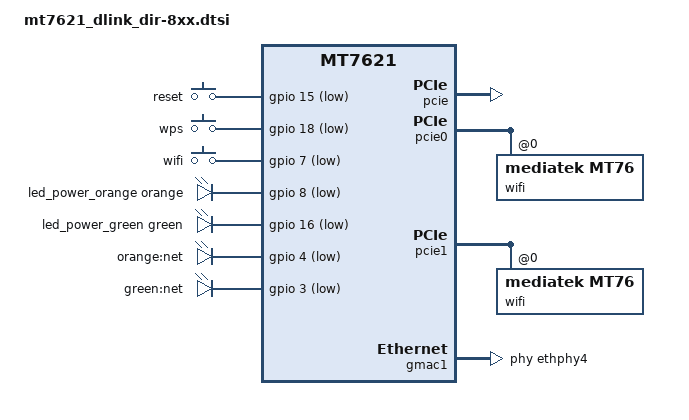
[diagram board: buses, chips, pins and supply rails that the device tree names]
// SPDX-License-Identifier: GPL-2.0-or-later OR MIT

#include "mt7621.dtsi"

#include <dt-bindings/gpio/gpio.h>
#include <dt-bindings/input/input.h>
#include <dt-bindings/leds/common.h>

/ {
	aliases {
		label-mac-device = &gmac0;
		led-boot = &led_power_orange;
		led-failsafe = &led_power_green;
		led-running = &led_power_green;
		led-upgrade = &led_net_orange;
	};

	keys {
		compatible = "gpio-keys";

		reset {
			label = "reset";
			gpios = <&gpio 15 GPIO_ACTIVE_LOW>;
			linux,code = <KEY_RESTART>;
		};

		wps {
			label = "wps";
			gpios = <&gpio 18 GPIO_ACTIVE_LOW>;
			linux,code = <KEY_WPS_BUTTON>;
		};

		wifi {
			label = "wifi";
			gpios = <&gpio 7 GPIO_ACTIVE_LOW>;
			linux,code = <KEY_RFKILL>;
		};
	};

	leds: leds {
		compatible = "gpio-leds";

		led_power_orange: power_orange {
			function = LED_FUNCTION_POWER;
			color = <LED_COLOR_ID_ORANGE>;
			gpios = <&gpio 8 GPIO_ACTIVE_LOW>;
		};

		led_power_green: power_green {
			function = LED_FUNCTION_POWER;
			color = <LED_COLOR_ID_GREEN>;
			gpios = <&gpio 16 GPIO_ACTIVE_LOW>;
		};

		led_net_orange: net_orange {
			label = "orange:net";
			gpios = <&gpio 4 GPIO_ACTIVE_LOW>;
		};

		net_green {
			label = "green:net";
			gpios = <&gpio 3 GPIO_ACTIVE_LOW>;
		};
	};
};

&pcie {
	status = "okay";
};

&pcie0 {
	wifi@0,0 {
		compatible = "mediatek,mt76";
		reg = <0x0000 0 0 0 0>;
		nvmem-cells = <&eeprom_factory_0>, <&macaddr_factory_e000 1>;
		nvmem-cell-names = "eeprom", "mac-address";
		ieee80211-freq-limit = <2400000 2500000>;

		led {
			led-active-low;
		};
	};
};

&pcie1 {
	wifi@0,0 {
		compatible = "mediatek,mt76";
		reg = <0x0000 0 0 0 0>;
		nvmem-cells = <&eeprom_factory_8000>, <&macaddr_factory_e000 2>;
		nvmem-cell-names = "eeprom", "mac-address";
		ieee80211-freq-limit = <5000000 6000000>;

		led {
			led-active-low;
		};
	};
};

&gmac0 {
	nvmem-cells = <&macaddr_factory_e000 0>;
	nvmem-cell-names = "mac-address";
};

&gmac1 {
	status = "okay";
	label = "wan";
	phy-handle = <&ethphy4>;

	nvmem-cells = <&macaddr_factory_e006 0>;
	nvmem-cell-names = "mac-address";
};

&ethphy4 {
	/delete-property/ interrupts;
};

&switch0 {
	ports {
		port@0 {
			status = "okay";
			label = "lan4";
		};

		port@1 {
			status = "okay";
			label = "lan3";
		};

		port@2 {
			status = "okay";
			label = "lan2";
		};

		port@3 {
			status = "okay";
			label = "lan1";
		};
	};
};

&state_default {
	gpio {
		groups = "i2c", "uart3", "jtag", "wdt";
		function = "gpio";
	};
};
